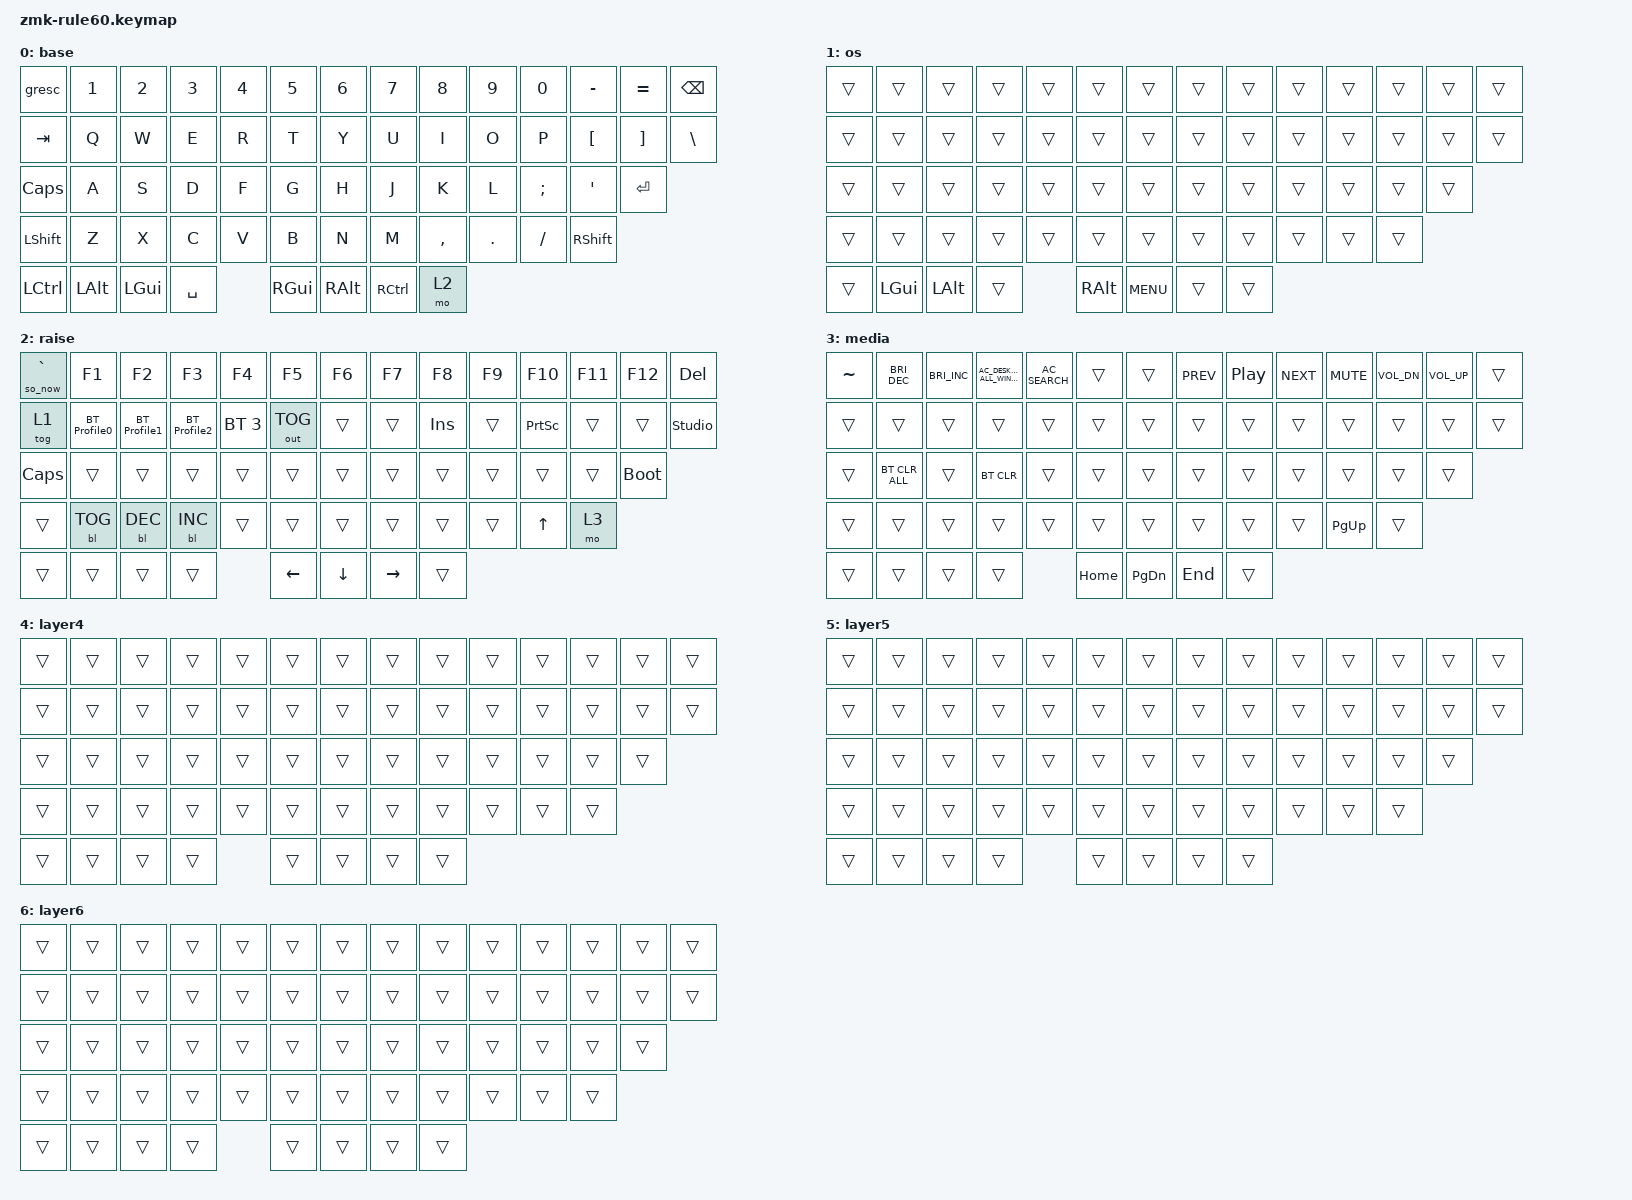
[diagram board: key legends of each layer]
/*
 * Copyright (c) 2021 Nick Winans
 *
 * SPDX-License-Identifier: MIT
 */

#include <behaviors.dtsi>
#include <dt-bindings/zmk/keys.h>
#include <dt-bindings/zmk/rgb.h>
#include <dt-bindings/zmk/bt.h>
#include <dt-bindings/zmk/backlight.h>
#include <dt-bindings/zmk/outputs.h>

#define ZMK_POINTING_DEFAULT_MOVE_VAL 3000  // default: 600
#define ZMK_POINTING_DEFAULT_SCRL_VAL 40    // default: 10

#include <dt-bindings/zmk/pointing.h>


&soft_off {
  hold-time-ms = <3000>; 
};

/ {
  behaviors {
    // 즉시 끄기(떼는 순간). 아래 gr_off 의 '길게 누름' 쪽에서만 씀
    so_now: so_now {
      compatible = "zmk,behavior-soft-off";
      #binding-cells = <0>;
    };
    // Fn + Esc : 짧게 = ` (원래 기능), 3초 넘게 누른 뒤 떼면 = 전원 끄기
    //   다시 켤 때도 Fn + Esc 3초 (ryong60_power.c). 백라이트가 한 번 깜빡이면 3초가 된 것 → 손 떼기
    gr_off: gr_off {
      compatible = "zmk,behavior-hold-tap";
      #binding-cells = <2>;
      flavor = "tap-preferred";
      tapping-term-ms = <3000>;
      bindings = <&so_now>, <&kp>;
    };
  };
};

/*
 * ryong60 키맵 — 사용자의 BT60 V2 설정(hiryong/zmk-config-studio, bt60_v2.keymap)을 그대로 옮김
 *  base  : Mac 배열 (Ctrl · Alt(Option) · GUI(Cmd) · Space · GUI · Alt · Ctrl · Fn)
 *  os    : Fn + Tab 으로 켜고 끔 → Windows 배열 (Ctrl · Win · Alt · Space · Alt · Menu · Ctrl · Fn)
 *  raise : Fn(맨 아래 맨 오른쪽) — Esc 자리 = ` (3초 누르고 떼면 전원 끄기), F1~F12, / = ↑, 아래 줄 = ← ↓ →, Z/X/C = 백라이트, Q/W/E/R = 블루투스 1~4,
 *          T = USB/블루투스 전환, Enter = 부트로더, \ = Studio 잠금 해제
 *  media : Fn + 오른쪽 Shift — 미디어·볼륨·밝기, A = 블루투스 전부 지우기, D = 현재 기기 지우기, PgUp/PgDn/Home/End
 */
/ {
 macros {
        BT_Profile0: BT_Profile0 {
          compatible = "zmk,behavior-macro";
          wait-ms = <40>;
          tap-ms = <40>;
          #binding-cells = <0>;
          bindings = <&bt BT_DISC 3 &macro_wait_time 50 &bt BT_SEL 0>;
        };
        BT_Profile1: BT_Profile1 {
          compatible = "zmk,behavior-macro";
          wait-ms = <40>;
          tap-ms = <40>;
          #binding-cells = <0>;
          bindings = <&bt BT_DISC 3 &macro_wait_time 50 &bt BT_SEL 1>;
        };
        BT_Profile2: BT_Profile2 {
          compatible = "zmk,behavior-macro";
          wait-ms = <40>;
          tap-ms = <40>;
          #binding-cells = <0>;
          bindings = <&bt BT_DISC 3 &macro_wait_time 50 &bt BT_SEL 2>;
        };
    };


  keymap {
    compatible = "zmk,keymap";

    base {
      display-name = "base";
      bindings = <
        &gresc &kp N1 &kp N2 &kp N3 &kp N4 &kp N5 &kp N6 &kp N7 &kp N8 &kp N9 &kp N0 &kp MINUS &kp EQUAL &kp BSPC
        &kp TAB  &kp Q  &kp W  &kp E  &kp R  &kp T  &kp Y  &kp U  &kp I  &kp O  &kp P  &kp LBKT &kp RBKT &kp BSLH
        &kp CAPS &kp A  &kp S  &kp D  &kp F  &kp G  &kp H  &kp J  &kp K  &kp L  &kp SEMI &kp SQT &kp RET
        &kp LSHFT &kp Z  &kp X  &kp C  &kp V  &kp B  &kp N  &kp M  &kp COMMA &kp DOT &kp FSLH &kp RSHFT
        &kp LCTRL &kp LALT &kp LGUI &kp SPACE &kp RGUI &kp RALT &kp RCTRL &mo 2
      >;
    };

    os {
      display-name = "os";
      bindings = <
        &trans &trans &trans &trans &trans &trans &trans &trans &trans &trans &trans &trans &trans &trans
        &trans &trans &trans &trans &trans &trans &trans &trans &trans &trans &trans &trans &trans &trans
        &trans &trans &trans &trans &trans &trans &trans &trans &trans &trans &trans &trans &trans
        &trans &trans &trans &trans &trans &trans &trans &trans &trans &trans &trans &trans
        &trans &kp LGUI &kp LALT &trans &kp RALT &kp C_MENU &trans &trans
      >;
    };

    raise {
      display-name = "raise";
      bindings = <
        &gr_off 0 GRAVE &kp F1 &kp F2 &kp F3 &kp F4 &kp F5 &kp F6 &kp F7 &kp F8 &kp F9 &kp F10 &kp F11 &kp F12 &kp DEL
        &tog 1 &BT_Profile0 &BT_Profile1 &BT_Profile2 &bt BT_SEL 3 &out OUT_TOG &trans &trans &kp INS &trans &kp PSCRN &trans &trans &studio_unlock
        &kp CAPS &trans &trans &trans &trans &trans &trans &trans &trans &trans &trans &trans &bootloader
        &trans &bl BL_TOG &bl BL_DEC &bl BL_INC &trans &trans &trans &trans &trans &trans &kp UP &mo 3
        &trans &trans &trans &trans &kp LEFT &kp DOWN &kp RIGHT &trans
      >;
    };

    media {
      display-name = "media";
      bindings = <
        &kp TILDE &kp C_BRI_DEC &kp C_BRI_INC &kp C_AC_DESKTOP_SHOW_ALL_WINDOWS &kp C_AC_SEARCH &trans &trans &kp C_PREV &kp C_PLAY_PAUSE &kp C_NEXT &kp C_MUTE &kp C_VOL_DN &kp C_VOL_UP &trans
        &trans &trans &trans &trans &trans &trans &trans &trans &trans &trans &trans &trans &trans &trans
        &trans &bt BT_CLR_ALL &trans &bt BT_CLR &trans &trans &trans &trans &trans &trans &trans &trans &trans
        &trans &trans &trans &trans &trans &trans &trans &trans &trans &trans &kp PG_UP &trans
        &trans &trans &trans &trans &kp HOME &kp PG_DN &kp END &trans
      >;
    };

    layer4 {
      display-name = "layer4";
      bindings = <
        &trans &trans &trans &trans &trans &trans &trans &trans &trans &trans &trans &trans &trans &trans
        &trans &trans &trans &trans &trans &trans &trans &trans &trans &trans &trans &trans &trans &trans
        &trans &trans &trans &trans &trans &trans &trans &trans &trans &trans &trans &trans &trans
        &trans &trans &trans &trans &trans &trans &trans &trans &trans &trans &trans &trans
        &trans &trans &trans &trans &trans &trans &trans &trans
      >;
    };

    layer5 {
      display-name = "layer5";
      bindings = <
        &trans &trans &trans &trans &trans &trans &trans &trans &trans &trans &trans &trans &trans &trans
        &trans &trans &trans &trans &trans &trans &trans &trans &trans &trans &trans &trans &trans &trans
        &trans &trans &trans &trans &trans &trans &trans &trans &trans &trans &trans &trans &trans
        &trans &trans &trans &trans &trans &trans &trans &trans &trans &trans &trans &trans
        &trans &trans &trans &trans &trans &trans &trans &trans
      >;
    };

    layer6 {
      display-name = "layer6";
      bindings = <
        &trans &trans &trans &trans &trans &trans &trans &trans &trans &trans &trans &trans &trans &trans
        &trans &trans &trans &trans &trans &trans &trans &trans &trans &trans &trans &trans &trans &trans
        &trans &trans &trans &trans &trans &trans &trans &trans &trans &trans &trans &trans &trans
        &trans &trans &trans &trans &trans &trans &trans &trans &trans &trans &trans &trans
        &trans &trans &trans &trans &trans &trans &trans &trans
      >;
    };
  };
};
